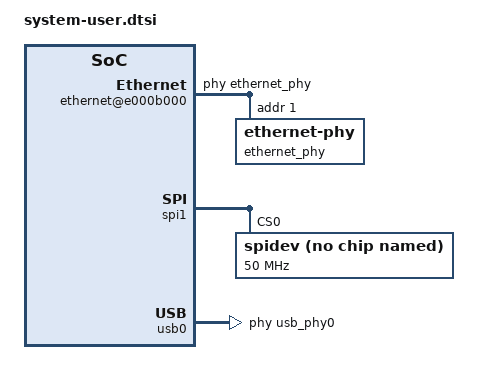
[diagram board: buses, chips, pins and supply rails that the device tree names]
/include/ "system-conf.dtsi"
/{
	amba {

		ethernet@e000b000 {
			phy-handle = <&ethernet_phy>;
			ethernet_phy: ethernet-phy@1{
				reg = <1>;
			};
		};
	};
        usb_phy0: phy0 {
                compatible = "ulpi-phy";
                #phy-cells = <0>;
                reg = <0xe0002000 0x1000>;
                view-port = <0x170>;
                drv-vbus;
        };
};

&spi1 {
	spidev@0x00 {
		compatible = "spidev";
		spi-max-frequency = <50000000>;
		reg = <0>;
		};
	};

&usb0 {
        usb-phy = <&usb_phy0>;
};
